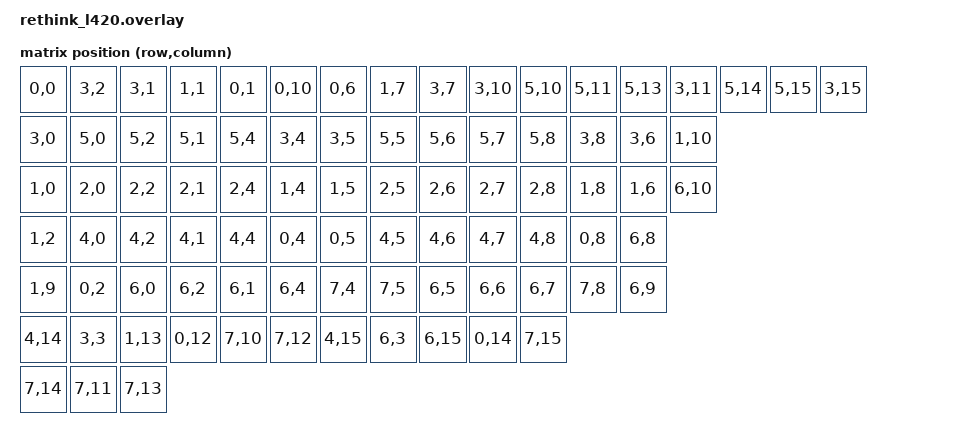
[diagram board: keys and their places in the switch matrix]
/*
 * Copyright (c) 2026 Ziemniaczenka
 * SPDX-License-Identifier: MIT
 *
 * ThinkPad L420 keyboard on FFC1: the 30-pin matrix cable in J4. ISO, 85
 * keys, mapped with scripts/matrix_scan.py on two Norwegian L420 keyboards;
 * the comments name the keys by their UK ISO legends.
 * The TrackPoint and its buttons are on the 8-pin cable (J5), not in the
 * matrix: TP1, a mouse.
 * The keyboard has no backlight and no
 * status LEDs: BUCK1 stays off from boot and the expander's LED pins rest on
 * their pull-ups.
 */

#include <dt-bindings/zmk/matrix_transform.h>

#include "../rethink_common/rethink_cb.dtsi"
#include "../rethink_common/rethink_adapter.dtsi"
#include "../rethink_common/rethink_adapter_matrix.dtsi"
#include "../rethink_common/rethink_trackpoint.dtsi"

/ {
    chosen {
        zmk,physical-layout = &l420_layout;
    };

    l420_layout: l420_layout {
        compatible = "zmk,physical-layout";
        display-name = "L420 ISO";
        transform = <&l420_transform>;
    };

    // Keys left to right, row by row; RC(r,c) = SENSEr x DRVc
    l420_transform: l420_transform {
        compatible = "zmk,matrix-transform";
        rows = <9>;
        columns = <18>;
        map = <
            // Esc     F1       F2       F3       F4       F5       F6       F7       F8       F9       F10      F11      F12      Insert   Delete   Home     End
            RC(0,0)  RC(3,2)  RC(3,1)  RC(1,1)  RC(0,1)  RC(0,10) RC(0,6)  RC(1,7)  RC(3,7)  RC(3,10) RC(5,10) RC(5,11) RC(5,13) RC(3,11) RC(5,14) RC(5,15) RC(3,15)
            // `       1        2        3        4        5        6        7        8        9        0        -        =        Bksp
            RC(3,0)  RC(5,0)  RC(5,2)  RC(5,1)  RC(5,4)  RC(3,4)  RC(3,5)  RC(5,5)  RC(5,6)  RC(5,7)  RC(5,8)  RC(3,8)  RC(3,6)  RC(1,10)
            // Tab     Q        W        E        R        T        Y        U        I        O        P        [        ]        Enter
            RC(1,0)  RC(2,0)  RC(2,2)  RC(2,1)  RC(2,4)  RC(1,4)  RC(1,5)  RC(2,5)  RC(2,6)  RC(2,7)  RC(2,8)  RC(1,8)  RC(1,6)  RC(6,10)
            // Caps    A        S        D        F        G        H        J        K        L        ;        '        #
            RC(1,2)  RC(4,0)  RC(4,2)  RC(4,1)  RC(4,4)  RC(0,4)  RC(0,5)  RC(4,5)  RC(4,6)  RC(4,7)  RC(4,8)  RC(0,8)  RC(6,8)
            // LShift  \        Z        X        C        V        B        N        M        ,        .        /        RShift
            RC(1,9)  RC(0,2)  RC(6,0)  RC(6,2)  RC(6,1)  RC(6,4)  RC(7,4)  RC(7,5)  RC(6,5)  RC(6,6)  RC(6,7)  RC(7,8)  RC(6,9)
            // Fn      LCtrl    Win      LAlt     Space    AltGr    Menu     RCtrl    PgUp     Up       PgDn
            RC(4,14) RC(3,3)  RC(1,13) RC(0,12) RC(7,10) RC(7,12) RC(4,15) RC(6,3)  RC(6,15) RC(0,14) RC(7,15)
            // Left    Down     Right
            RC(7,14) RC(7,11) RC(7,13)
        >;
    };
};
